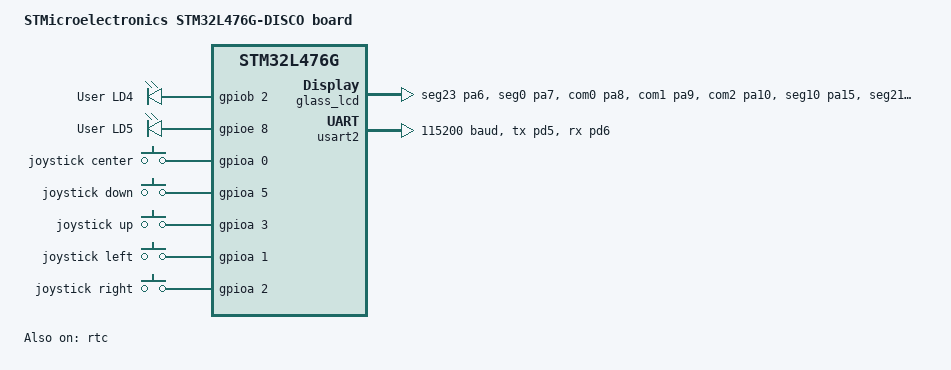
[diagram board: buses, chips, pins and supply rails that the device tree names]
/*
 * Copyright (c) 2017 Arthur Sfez
 *
 * Based on stm32l496g_disco:
 *
 * Copyright (c) 2017 Linaro Limited
 *
 * SPDX-License-Identifier: Apache-2.0
 */

/dts-v1/;
#include <st/l4/stm32l476Xg.dtsi>
#include <st/l4/stm32l476v(c-e-g)tx-pinctrl.dtsi>
#include <zephyr/dt-bindings/input/input-event-codes.h>

/ {
	model = "STMicroelectronics STM32L476G-DISCO board";
	compatible = "st,stm32l476g-disco";

	chosen {
		zephyr,console = &usart2;
		zephyr,shell-uart = &usart2;
		zephyr,sram = &sram0;
		zephyr,flash = &flash0;
	};

	leds {
		compatible = "gpio-leds";

		green_led_4: led_4 {
			gpios = <&gpiob 2 GPIO_ACTIVE_HIGH>;
			label = "User LD4";
		};

		green_led_5: led_5 {
			gpios = <&gpioe 8 GPIO_ACTIVE_HIGH>;
			label = "User LD5";
		};
	};

	gpio_keys {
		compatible = "gpio-keys";

		joy_center: joystick_center {
			label = "joystick center";
			gpios = <&gpioa 0 (GPIO_ACTIVE_HIGH | GPIO_PULL_DOWN)>;
			zephyr,code = <INPUT_KEY_ENTER>;
		};

		joy_down: joystick_down {
			label = "joystick down";
			gpios = <&gpioa 5 (GPIO_ACTIVE_HIGH | GPIO_PULL_DOWN)>;
			zephyr,code = <INPUT_KEY_DOWN>;
		};

		joy_up: joystick_up {
			label = "joystick up";
			gpios = <&gpioa 3 (GPIO_ACTIVE_HIGH | GPIO_PULL_DOWN)>;
			zephyr,code = <INPUT_KEY_UP>;
		};

		joy_left: joystick_left {
			label = "joystick left";
			gpios = <&gpioa 1 (GPIO_ACTIVE_HIGH | GPIO_PULL_DOWN)>;
			zephyr,code = <INPUT_KEY_LEFT>;
		};

		joy_right: joystick_right {
			label = "joystick right";
			gpios = <&gpioa 2 (GPIO_ACTIVE_HIGH | GPIO_PULL_DOWN)>;
			zephyr,code = <INPUT_KEY_RIGHT>;
		};
	};

	aliases {
		led0 = &green_led_4;
		sw0 = &joy_center;
	};
};

&clk_lsi {
	status = "okay";
};

&clk_hsi {
	status = "okay";
};

&pll {
	div-m = <1>;
	mul-n = <20>;
	div-p = <7>;
	div-q = <2>;
	div-r = <4>;
	clocks = <&clk_hsi>;
	status = "okay";
};

&rcc {
	clocks = <&pll>;
	clock-frequency = <DT_FREQ_M(80)>;
	ahb-prescaler = <1>;
	apb1-prescaler = <1>;
	apb2-prescaler = <1>;
};

&usart2 {
	pinctrl-0 = <&usart2_tx_pd5 &usart2_rx_pd6>;
	pinctrl-names = "default";
	current-speed = <115200>;
	status = "okay";
};

&rtc {
	clocks = <&rcc STM32_CLOCK(APB1, 28)>,
		 <&rcc STM32_SRC_LSI RTC_SEL(2)>;
	status = "okay";

	backup_regs {
		status = "okay";
	};
};

/ {
	chosen {
		zephyr,auxdisplay = &glass_lcd;
	};

	/* We target the core SoC bus to declare the missing peripheral hardware block */
	soc {
		glass_lcd: lcd@40002400 {
			compatible = "st,stm32-glass-lcd";
			status = "okay";

			reg = <0x40002400 0x400>;

			clocks = <&rcc STM32_CLOCK(APB1, 24)>;

			pinctrl-0 = <&lcd_seg23_pa6 &lcd_seg0_pa7 &lcd_com0_pa8
				     &lcd_com1_pa9 &lcd_com2_pa10 &lcd_seg10_pa15
				     &lcd_seg21_pb0 &lcd_seg2_pb1 &lcd_seg11_pb4
				     &lcd_seg12_pb5 &lcd_com3_pb9 &lcd_seg20_pb12
				     &lcd_seg3_pb13 &lcd_seg19_pb14 &lcd_seg4_pb15
				     &lcd_vlcd_pc3 &lcd_seg22_pc4 &lcd_seg1_pc5
				     &lcd_seg14_pc6 &lcd_seg9_pc7 &lcd_seg13_pc8
				     &lcd_seg18_pd8 &lcd_seg5_pd9 &lcd_seg17_pd10 &lcd_seg6_pd11
				     &lcd_seg16_pd12 &lcd_seg7_pd13 &lcd_seg15_pd14 &lcd_seg8_pd15>;
			pinctrl-names = "default";

			columns = <6>;
			rows = <1>;
		};
	};
};

&pinctrl {
	/omit-if-no-ref/ lcd_seg23_pa6: lcd_seg23_pa6 { pinmux = <STM32_PINMUX('A', 6, AF11)>; };
	/omit-if-no-ref/ lcd_seg0_pa7: lcd_seg0_pa7 { pinmux = <STM32_PINMUX('A', 7, AF11)>; };
	/omit-if-no-ref/ lcd_com0_pa8: lcd_com0_pa8 { pinmux = <STM32_PINMUX('A', 8, AF11)>; };
	/omit-if-no-ref/ lcd_com1_pa9: lcd_com1_pa9 { pinmux = <STM32_PINMUX('A', 9, AF11)>; };
	/omit-if-no-ref/ lcd_com2_pa10: lcd_com2_pa10 { pinmux = <STM32_PINMUX('A', 10, AF11)>; };
	/omit-if-no-ref/ lcd_seg10_pa15: lcd_seg10_pa15 { pinmux = <STM32_PINMUX('A', 15, AF11)>; };

	/omit-if-no-ref/ lcd_seg21_pb0: lcd_seg21_pb0 { pinmux = <STM32_PINMUX('B', 0, AF11)>; };
	/omit-if-no-ref/ lcd_seg2_pb1: lcd_seg2_pb1 { pinmux = <STM32_PINMUX('B', 1, AF11)>; };
	/omit-if-no-ref/ lcd_seg11_pb4: lcd_seg11_pb4 { pinmux = <STM32_PINMUX('B', 4, AF11)>; };
	/omit-if-no-ref/ lcd_seg12_pb5: lcd_seg12_pb5 { pinmux = <STM32_PINMUX('B', 5, AF11)>; };
	/omit-if-no-ref/ lcd_com3_pb9: lcd_com3_pb9 { pinmux = <STM32_PINMUX('B', 9, AF11)>; };
	/omit-if-no-ref/ lcd_seg20_pb12: lcd_seg20_pb12 { pinmux = <STM32_PINMUX('B', 12, AF11)>; };
	/omit-if-no-ref/ lcd_seg3_pb13: lcd_seg3_pb13 { pinmux = <STM32_PINMUX('B', 13, AF11)>; };
	/omit-if-no-ref/ lcd_seg19_pb14: lcd_seg19_pb14 { pinmux = <STM32_PINMUX('B', 14, AF11)>; };
	/omit-if-no-ref/ lcd_seg4_pb15: lcd_seg4_pb15 { pinmux = <STM32_PINMUX('B', 15, AF11)>; };

	/omit-if-no-ref/ lcd_vlcd_pc3: lcd_vlcd_pc3 { pinmux = <STM32_PINMUX('C', 3, AF11)>; };
	/omit-if-no-ref/ lcd_seg22_pc4: lcd_seg22_pc4 { pinmux = <STM32_PINMUX('C', 4, AF11)>; };
	/omit-if-no-ref/ lcd_seg1_pc5: lcd_seg1_pc5 { pinmux = <STM32_PINMUX('C', 5, AF11)>; };
	/omit-if-no-ref/ lcd_seg14_pc6: lcd_seg14_pc6 { pinmux = <STM32_PINMUX('C', 6, AF11)>; };
	/omit-if-no-ref/ lcd_seg9_pc7: lcd_seg9_pc7 { pinmux = <STM32_PINMUX('C', 7, AF11)>; };
	/omit-if-no-ref/ lcd_seg13_pc8: lcd_seg13_pc8 { pinmux = <STM32_PINMUX('C', 8, AF11)>; };

	/omit-if-no-ref/ lcd_seg18_pd8: lcd_seg18_pd8 { pinmux = <STM32_PINMUX('D', 8, AF11)>; };
	/omit-if-no-ref/ lcd_seg5_pd9: lcd_seg5_pd9 { pinmux = <STM32_PINMUX('D', 9, AF11)>; };
	/omit-if-no-ref/ lcd_seg17_pd10: lcd_seg17_pd10 { pinmux = <STM32_PINMUX('D', 10, AF11)>; };
	/omit-if-no-ref/ lcd_seg6_pd11: lcd_seg6_pd11 { pinmux = <STM32_PINMUX('D', 11, AF11)>; };
	/omit-if-no-ref/ lcd_seg16_pd12: lcd_seg16_pd12 { pinmux = <STM32_PINMUX('D', 12, AF11)>; };
	/omit-if-no-ref/ lcd_seg7_pd13: lcd_seg7_pd13 { pinmux = <STM32_PINMUX('D', 13, AF11)>; };
	/omit-if-no-ref/ lcd_seg15_pd14: lcd_seg15_pd14 { pinmux = <STM32_PINMUX('D', 14, AF11)>; };
	/omit-if-no-ref/ lcd_seg8_pd15: lcd_seg8_pd15 { pinmux = <STM32_PINMUX('D', 15, AF11)>; };
};
